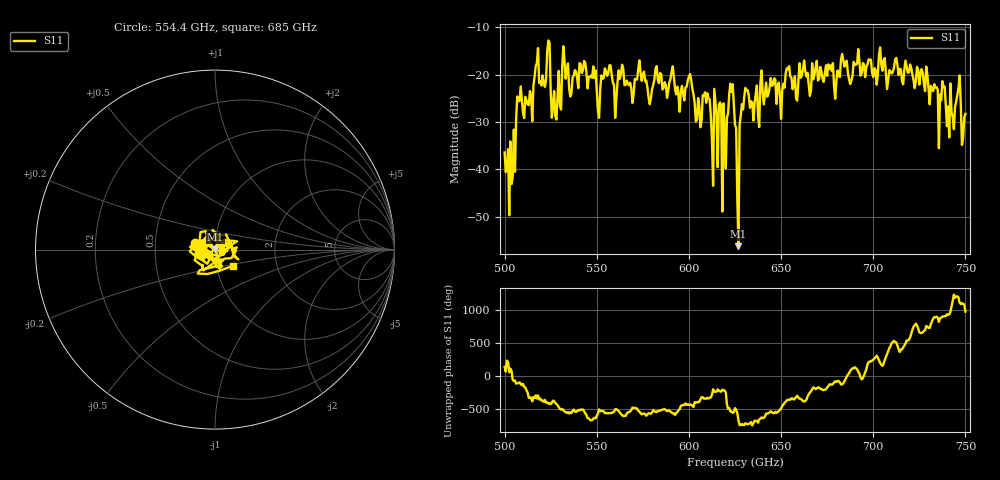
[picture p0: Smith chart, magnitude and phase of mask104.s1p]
!Created with skrf (http://scikit-rf.org).
# GHz S MA R 50.0
!freq magS11 angS11
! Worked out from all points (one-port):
!   401 points, 500 GHz to 750 GHz, reference 50 ohm
!   lowest |S11| = -56.2 dB at 626.9 GHz (marker M1), VSWR 1.00, Z = 50.1 + j0.12 ohm
!   |S11| at or under -10 dB: start of sweep to end of sweep
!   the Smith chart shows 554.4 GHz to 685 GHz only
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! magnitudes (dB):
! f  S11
! 500 GHz  -36.4
! 503.1 GHz  -34.1
! 507.5 GHz  -25.6
! 513.8 GHz  -23.5
! 516.9 GHz  -18.2
! 523.8 GHz  -12.8
! 526.9 GHz  -23.5
! 531.2 GHz  -18.4
! 542.5 GHz  -19.1
! 551.2 GHz  -29.1
! 562.5 GHz  -20.9
! 593.8 GHz  -22.6
! 610 GHz  -24.0
! 611.9 GHz  -28.7
! 615 GHz  -28.6
! 619.4 GHz  -31.8
! 623.1 GHz  -23.7
! 625 GHz  -30.6
! 625.6 GHz  -31.3
! 626.9 GHz  -56.2
! 628.8 GHz  -26.3
! 631.2 GHz  -23.3
! 656.2 GHz  -23.1
! 687.5 GHz  -22.0
! 718.8 GHz  -19.6
! 742.5 GHz  -28.0
! 746.2 GHz  -22.9
! 750 GHz  -28.3
